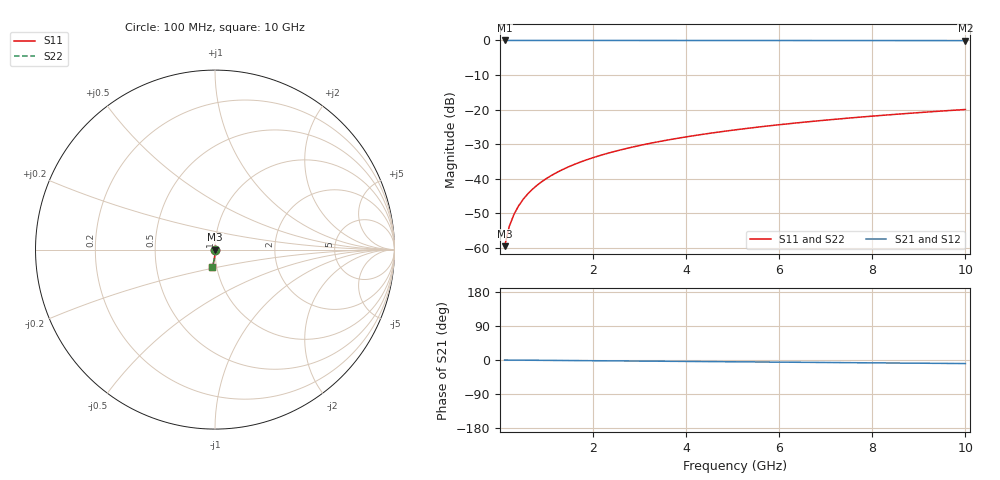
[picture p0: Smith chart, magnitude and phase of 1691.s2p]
# Hz S RI R 50.00
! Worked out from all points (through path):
!   100 points, 100 MHz to 10 GHz, reference 50 ohm
!   highest |S21| = 0.00 dB at 100 MHz (marker M1); lowest = 0.0 dB at 10 GHz (marker M2)
!   group delay of S21, straight-line fit = 2.6 ps
!   lowest |S11| = -59.5 dB at 100 MHz (marker M3), VSWR 1.00, Z = 50 - j0.101 ohm
!   |S11| at or under -10 dB: start of sweep to end of sweep
!   |S22| runs from -59.5 to -20.0 dB; largest |S21 - S12| = 0
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1e8  0.000314 -0.00101  0.9997 -0.00163  0.9997 -0.00163  0.000314 -0.00101
2e8  0.00031 -0.00201  0.9997 -0.00327  0.9997 -0.00327  0.00031 -0.00201
3e8  0.000302 -0.00302  0.9997 -0.0049  0.9997 -0.0049  0.000302 -0.00302
4e8  0.000291 -0.00402  0.9996 -0.00653  0.9996 -0.00653  0.000291 -0.00402
5e8  0.000276 -0.00503  0.9996 -0.00817  0.9996 -0.00817  0.000276 -0.00503
6e8  0.000258 -0.00604  0.9996 -0.0098  0.9996 -0.0098  0.000258 -0.00604
7e8  0.000236 -0.00704  0.9996 -0.0114  0.9996 -0.0114  0.000236 -0.00704
8e8  0.000211 -0.00805  0.9995 -0.0131  0.9995 -0.0131  0.000211 -0.00805
9e8  0.000182 -0.00905  0.9995 -0.0147  0.9995 -0.0147  0.000182 -0.00905
1.1e9  0.000116 -0.0111  0.9994 -0.018  0.9994 -0.018  0.000116 -0.0111
1.4e9  -9.61e-06 -0.0141  0.9993 -0.0229  0.9993 -0.0229  -9.61e-06 -0.0141
1.8e9  -0.000223 -0.0181  0.999 -0.0294  0.999 -0.0294  -0.000223 -0.0181
2.1e9  -0.000417 -0.0211  0.9988 -0.0343  0.9988 -0.0343  -0.000417 -0.0211
2.5e9  -0.000723 -0.0251  0.9985 -0.0408  0.9985 -0.0408  -0.000723 -0.0251
2.9e9  -0.00108 -0.0291  0.9981 -0.0473  0.9981 -0.0473  -0.00108 -0.0291
3.4e9  -0.0016 -0.0341  0.9975 -0.0555  0.9975 -0.0555  -0.0016 -0.0341
4.2e9  -0.00261 -0.0421  0.9964 -0.0685  0.9964 -0.0685  -0.00261 -0.0421
5.1e9  -0.00399 -0.0511  0.9948 -0.0831  0.9948 -0.0831  -0.00399 -0.0511
5.9e9  -0.00543 -0.059  0.9932 -0.0961  0.9932 -0.0961  -0.00543 -0.059
6.7e9  -0.00709 -0.0669  0.9913 -0.109  0.9913 -0.109  -0.00709 -0.0669
8.4e9  -0.0113 -0.0835  0.9866 -0.1364  0.9866 -0.1364  -0.0113 -0.0835
1e10  -0.0161 -0.0989  0.9812 -0.1619  0.9812 -0.1619  -0.0161 -0.0989
